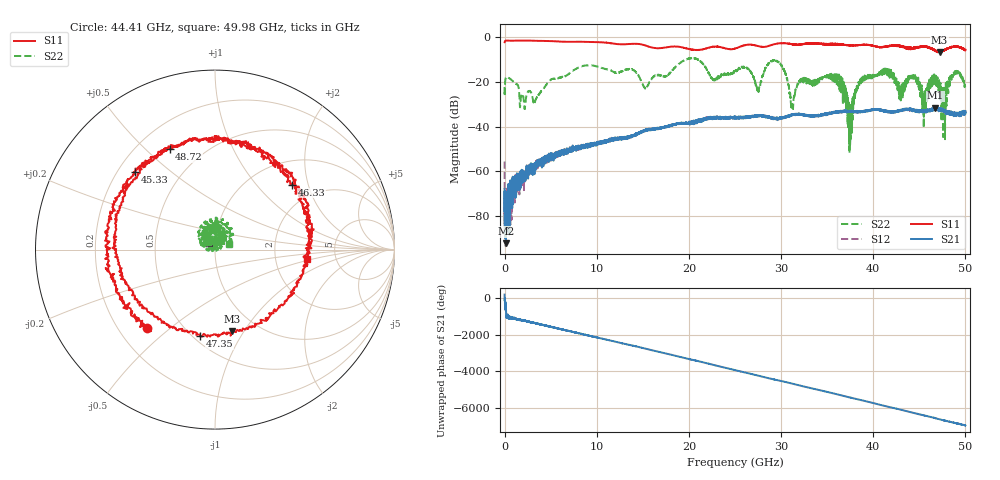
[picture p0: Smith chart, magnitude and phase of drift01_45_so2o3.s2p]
!Created with skrf (http://scikit-rf.org).
# Hz S RI R 50.0
!freq ReS11 ImS11 ReS21 ImS21 ReS12 ImS12 ReS22 ImS22
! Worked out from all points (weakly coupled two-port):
!   10001 points, 300 kHz to 50 GHz, reference 50 ohm
!   highest |S21| = -31.44 dB at 46.74 GHz (marker M1); lowest = -92.2 dB at 145.3 MHz (marker M2)
!   lowest |S11| = -6.7 dB at 47.2 GHz (marker M3), VSWR 2.73, Z = 38.3 - j44.3 ohm
!   |S11| at or under -10 dB: nowhere
!   |S22| runs from -51.9 to -9.2 dB; largest |S21 - S12| = 0.0042
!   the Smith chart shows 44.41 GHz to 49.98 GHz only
!   S11 on the Smith chart (normalised r, x): 44.41 GHz: 0.32, -0.42; 45.33 GHz: 0.27, +0.38; 46.33 GHz: 1.50, +1.59; 47.35 GHz: 0.54, -0.69; 48.72 GHz: 0.33, +0.59; 49.98 GHz: 3.06, -0.43
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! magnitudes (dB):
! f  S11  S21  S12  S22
! 300 kHz  -2.1  -68.0  -55.6  -22.2
! 145.3 MHz  -1.5  -92.2  -80.7  -17.9
! 3.29 GHz  -1.5  -58.3  -57.9  -28.8
! 8.335 GHz  -2.0  -49.0  -49.3  -12.9
! 16.67 GHz  -4.8  -40.8  -40.7  -16.7
! 25 GHz  -5.0  -36.3  -35.6  -15.6
! 29.59 GHz  -2.8  -35.9  -36.6  -10.6
! 31.23 GHz  -3.1  -34.7  -34.6  -30.7
! 33.34 GHz  -2.6  -35.1  -35.2  -20.2
! 36.21 GHz  -3.2  -33.7  -33.4  -21.6
! 37.47 GHz  -3.6  -33.2  -33.3  -36.6
! 38.67 GHz  -3.3  -33.3  -33.2  -20.3
! 41.67 GHz  -3.9  -33.0  -33.1  -15.8
! 44.41 GHz  -4.7  -32.6  -32.6  -17.7
! 45.33 GHz  -4.1  -32.9  -32.9  -29.1
! 46.33 GHz  -5.0  -32.4  -32.5  -19.0
! 46.74 GHz  -5.8  -31.4  -32.2  -18.9
! 47.2 GHz  -6.7  -32.3  -31.9  -23.2
! 47.35 GHz  -6.3  -32.5  -32.3  -22.8
! 48.72 GHz  -4.2  -35.0  -34.5  -15.7
! 49.98 GHz  -5.7  -33.7  -33.6  -21.8
! 50 GHz  -5.5  -33.0  -33.8  -21.8
